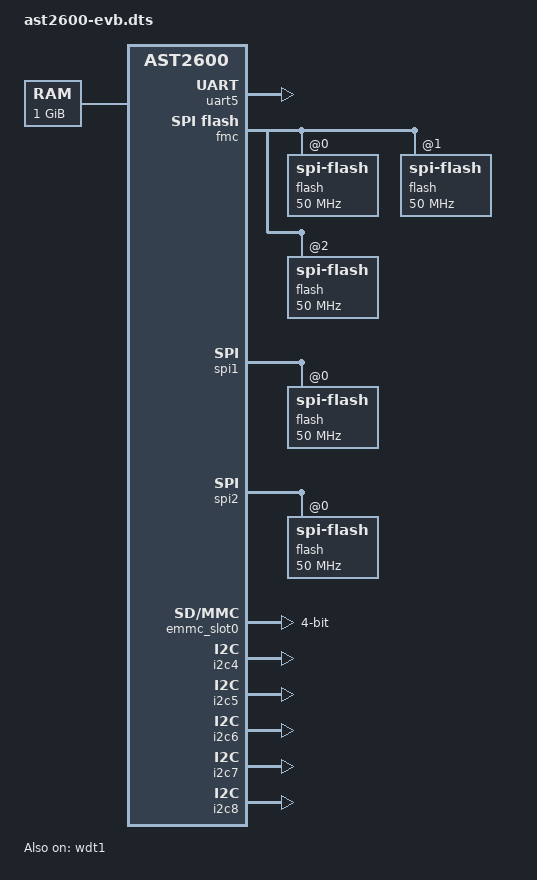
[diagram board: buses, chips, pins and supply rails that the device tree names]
// SPDX-License-Identifier: GPL-2.0+

/dts-v1/;

#include "ast2600-u-boot.dtsi"

/ {
	memory {
		device_type = "memory";
		reg = <0x80000000 0x40000000>;
	};

	chosen {
		stdout-path = &uart5;
	};

	aliases {
		mmc0 = &emmc_slot0;
		mmc1 = &sdhci_slot0;
		mmc2 = &sdhci_slot1;
		spi0 = &fmc;
		spi1 = &spi1;
		spi2 = &spi2;
		ethernet0 = &mac0;
		ethernet1 = &mac1;
		ethernet2 = &mac2;
		ethernet3 = &mac3;
	};

	cpus {
		cpu@0 {
			clock-frequency = <800000000>;
		};
		cpu@1 {
			clock-frequency = <800000000>;
		};
	};
};

&uart5 {
	u-boot,dm-pre-reloc;
	status = "okay";
};

&sdrammc {
	clock-frequency = <400000000>;
};

&wdt1 {
	status = "okay";
};

&fmc {
	status = "okay";

	pinctrl-names = "default";
	pinctrl-0 = <&pinctrl_fmcquad_default>;

	flash@0 {
		compatible = "spi-flash", "sst,w25q256";
		status = "okay";
		spi-max-frequency = <50000000>;
		spi-tx-bus-width = <4>;
		spi-rx-bus-width = <4>;
	};

	flash@1 {
		compatible = "spi-flash", "sst,w25q256";
		status = "okay";
		spi-max-frequency = <50000000>;
		spi-tx-bus-width = <4>;
		spi-rx-bus-width = <4>;
	};

	flash@2 {
		compatible = "spi-flash", "sst,w25q256";
		status = "okay";
		spi-max-frequency = <50000000>;
		spi-tx-bus-width = <4>;
		spi-rx-bus-width = <4>;
	};
};

&spi1 {
	status = "okay";

	pinctrl-names = "default";
	pinctrl-0 = <&pinctrl_spi1_default &pinctrl_spi1abr_default
			&pinctrl_spi1cs1_default &pinctrl_spi1wp_default
			&pinctrl_spi1wp_default &pinctrl_spi1quad_default>;

	flash@0 {
		compatible = "spi-flash", "sst,w25q256";
		status = "okay";
		spi-max-frequency = <50000000>;
		spi-tx-bus-width = <4>;
		spi-rx-bus-width = <4>;
	};
};

&spi2 {
	status = "okay";

	pinctrl-names = "default";
	pinctrl-0 = <&pinctrl_spi2_default &pinctrl_spi2cs1_default
			&pinctrl_spi2cs2_default &pinctrl_spi2quad_default>;

	flash@0 {
		compatible = "spi-flash", "sst,w25q256";
		status = "okay";
		spi-max-frequency = <50000000>;
		spi-tx-bus-width = <4>;
		spi-rx-bus-width = <4>;
	};
};

&emmc {
	u-boot,dm-pre-reloc;
	timing-phase = <0x700ff>;
};

&emmc_slot0 {
	u-boot,dm-pre-reloc;
	status = "okay";
	bus-width = <4>;
	pinctrl-names = "default";
	pinctrl-0 = <&pinctrl_emmc_default>;
	sdhci-drive-type = <1>;
};

&i2c4 {
	status = "okay";

	pinctrl-names = "default";
	pinctrl-0 = <&pinctrl_i2c5_default>;
};

&i2c5 {
	status = "okay";

	pinctrl-names = "default";
	pinctrl-0 = <&pinctrl_i2c6_default>;
};

&i2c6 {
	status = "okay";

	pinctrl-names = "default";
	pinctrl-0 = <&pinctrl_i2c7_default>;
};

&i2c7 {
	status = "okay";

	pinctrl-names = "default";
	pinctrl-0 = <&pinctrl_i2c8_default>;
};

&i2c8 {
	status = "okay";

	pinctrl-names = "default";
	pinctrl-0 = <&pinctrl_i2c9_default>;
};

&scu {
	mac0-clk-delay = <0x1d 0x1c
			  0x10 0x17
			  0x10 0x17>;
	mac1-clk-delay = <0x1d 0x10
			  0x10 0x10
			  0x10 0x10>;
	mac2-clk-delay = <0x0a 0x04
			  0x08 0x04
			  0x08 0x04>;
	mac3-clk-delay = <0x0a 0x04
			  0x08 0x04
			  0x08 0x04>;
};
